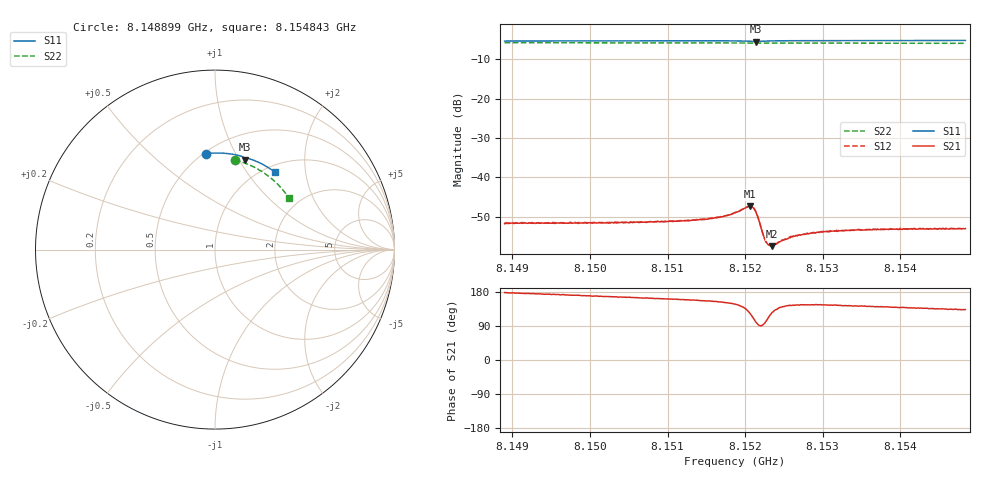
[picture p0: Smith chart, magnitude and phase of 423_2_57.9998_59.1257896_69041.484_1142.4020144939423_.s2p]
#  HZ  S  RI  R  50.00
! Rohde & Schwarz Vector Network Analyzer
! Rohde-Schwarz,ZNB20-2Port,1311601062101988,3.16
! Created: UTC 3/21/2024, 1:09:14 AM
! freq[Hz]  re:S11  im:S11  re:S21  im:S21  re:S12  im:S12  re:S22  im:S22
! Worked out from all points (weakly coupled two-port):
!   401 points, 8.148899 GHz to 8.154843 GHz, reference 50 ohm
!   highest |S21| = -47.34 dB at 8.152064 GHz (marker M1); lowest = -57.4 dB at 8.152346 GHz (marker M2)
!   lowest |S11| = -5.5 dB at 8.152138 GHz (marker M3), VSWR 3.24, Z = 38 + j52.9 ohm
!   |S11| at or under -10 dB: nowhere
!   |S22| runs from -6.0 to -5.8 dB; largest |S21 - S12| = 0.00012
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8.1488986e9  -0.0513 0.5341  -0.00258 9.27e-05  -0.00265 0.000122  0.1104 0.4989
8.1498943e9  0.018 0.538  -0.0026 0.000472  -0.00263 0.000533  0.1719 0.4799
8.1508899e9  0.0873 0.5328  -0.0026 0.000847  -0.00264 0.000854  0.2302 0.4533
8.1514844e9  0.1287 0.525  -0.00268 0.00119  -0.00268 0.00124  0.2628 0.4342
8.1516924e9  0.1436 0.5211  -0.00281 0.00143  -0.00282 0.00149  0.2738 0.4268
8.1518707e9  0.1569 0.5163  -0.00301 0.0019  -0.003 0.00197  0.2833 0.4202
8.1520193e9  0.1673 0.5082  -0.00284 0.00303  -0.00282 0.00312  0.291 0.4144
8.1520639e9  0.1684 0.5045  -0.00236 0.00358  -0.00233 0.00362  0.2929 0.4126
8.1521085e9  0.1672 0.5014  -0.00141 0.00384  -0.00137 0.00392  0.295 0.4109
8.1521382e9  0.1655 0.5014  -0.000674 0.00362  -0.000632 0.00365  0.2964 0.4099
8.1521679e9  0.1647 0.5027  -0.000187 0.00309  -0.000124 0.00308  0.2979 0.4089
8.1522274e9  0.167 0.5068  -7.34e-05 0.00196  -6.56e-05 0.00199  0.3009 0.4068
8.1522571e9  0.1694 0.5081  -0.000224 0.00161  -0.000195 0.00162  0.3024 0.4057
8.152272e9  0.1707 0.5082  -0.000322 0.00148  -0.000325 0.00148  0.3032 0.4051
8.1523017e9  0.1734 0.5088  -0.000514 0.00129  -0.000509 0.00131  0.3046 0.4039
8.1523463e9  0.1772 0.509  -0.000762 0.0011  -0.000759 0.00117  0.307 0.4023
8.1525543e9  0.1936 0.5057  -0.00135 0.000992  -0.00135 0.00105  0.3173 0.3938
8.1526138e9  0.1979 0.5044  -0.00143 0.00103  -0.00145 0.00105  0.3201 0.3914
8.1528664e9  0.2152 0.4981  -0.00165 0.00111  -0.00162 0.00114  0.332 0.3808
8.153119e9  0.2318 0.4912  -0.00171 0.00119  -0.00173 0.00122  0.3438 0.3699
8.1538621e9  0.2781 0.4679  -0.00168 0.00141  -0.00167 0.00145  0.3756 0.3355
8.1548429e9  0.3347 0.4311  -0.00153 0.00163  -0.0015 0.00167  0.4123 0.2864
